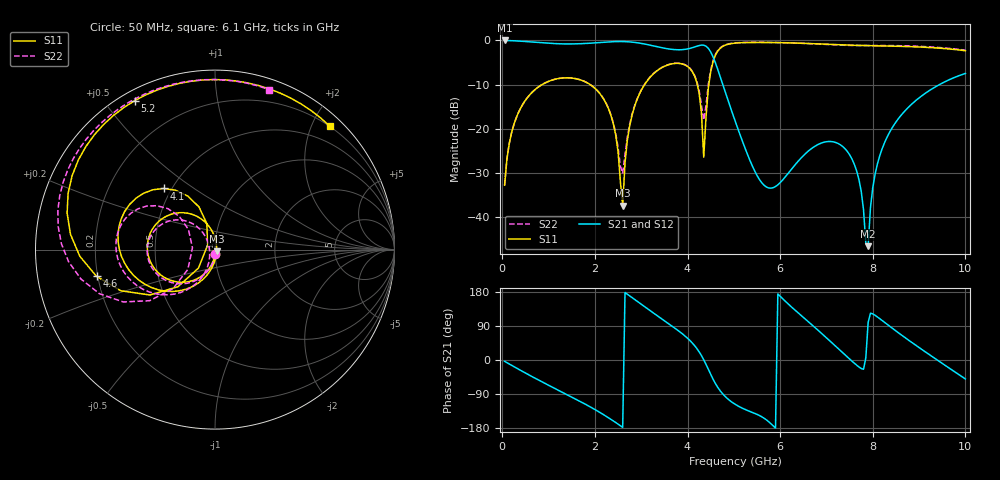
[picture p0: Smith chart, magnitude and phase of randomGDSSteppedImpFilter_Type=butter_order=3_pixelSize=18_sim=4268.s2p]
! freq	dB(S11)	phase(S11)	dB(S12)	phase(S12)
!  dB(S21)	phase(S21)	dB(S22)	phase(S22)
!S-par simulation data
#  GHz  S  DB  R 50
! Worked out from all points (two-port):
!   200 points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, 50 MHz to 10 GHz, reference 50 ohm
!   highest |S21| = -0.02 dB at 50 MHz (marker M1); lowest = -46.5 dB at 7.9 GHz (marker M2)
!   |S21| within 3 dB of the highest: start of sweep to 4.519 GHz
!   lowest |S11| = -37.4 dB at 2.6 GHz (marker M3), VSWR 1.03, Z = 51.1 - j0.863 ohm
!   |S11| at or under -10 dB: start of sweep to 858 MHz; 1.898 GHz to 3.073 GHz (1.174 GHz wide, 47.3 % of centre); 4.211 GHz to 4.46 GHz (249 MHz wide, 5.74 % of centre)
!   |S22| runs from -32.7 to -0.4 dB; largest |S21 - S12| = 0
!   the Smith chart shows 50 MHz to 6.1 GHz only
!   S11 on the Smith chart (normalised r, x): 50 MHz: 1.00, -0.05; 4.1 GHz: 0.45, +0.38; 4.6 GHz: 0.20, -0.11; 5.2 GHz: 0.04, +0.60; 6.1 GHz: 0.20, +2.28
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0.05  -32.72 -90.0  -0.02 -3.5  -0.02 -3.5  -32.71 -89.8
0.55  -12.83 -128.8  -0.30 -37.7  -0.30 -37.7  -12.82 -126.7
1.75  -9.17 152.2  -0.73 -113.7  -0.73 -113.7  -9.16 160.7
2.35  -17.07 105.5  -0.32 -156.9  -0.32 -156.9  -16.94 126.6
2.6  -37.36 -38.6  -0.27 -177.6  -0.27 -177.6  -29.98 -159.0
2.8  -17.00 -106.1  -0.39 164.9  -0.39 164.9  -16.77 -113.9
3.4  -6.44 -162.6  -1.56 112.3  -1.56 112.3  -6.40 -155.2
4.1  -7.03 130.1  -1.67 45.2  -1.67 45.2  -6.90 147.5
4.25  -11.90 110.6  -1.17 21.7  -1.17 21.7  -11.30 137.0
4.35  -26.35 148.0  -1.09 0.6  -1.09 0.6  -17.99 175.4
4.45  -10.69 -134.9  -1.81 -24.8  -1.81 -24.8  -9.89 -137.0
4.6  -3.39 -167.3  -5.02 -61.6  -5.02 -61.6  -3.23 -159.1
5.05  -0.60 131.5  -18.88 -118.5  -18.88 -118.5  -0.55 147.2
5.2  -0.51 118.3  -23.20 -128.2  -23.20 -128.2  -0.47 135.6
6.1  -0.54 47.1  -30.97 156.3  -30.97 156.3  -0.52 71.2
6.7  -0.75 -7.1  -24.27 91.4  -24.27 91.4  -0.77 17.1
7.5  -1.08 -91.3  -25.85 2.5  -25.85 2.5  -1.14 -75.7
7.9  -1.19 -135.1  -46.49 99.2  -46.49 99.2  -1.17 -121.8
8.05  -1.22 -151.3  -30.23 118.0  -30.23 118.0  -1.17 -137.6
8.35  -1.29 177.1  -21.01 90.4  -21.01 90.4  -1.18 -166.4
9.15  -1.57 97.0  -11.84 20.1  -11.84 20.1  -1.42 130.2
10  -2.34 16.0  -7.47 -50.1  -7.47 -50.1  -2.21 72.3
